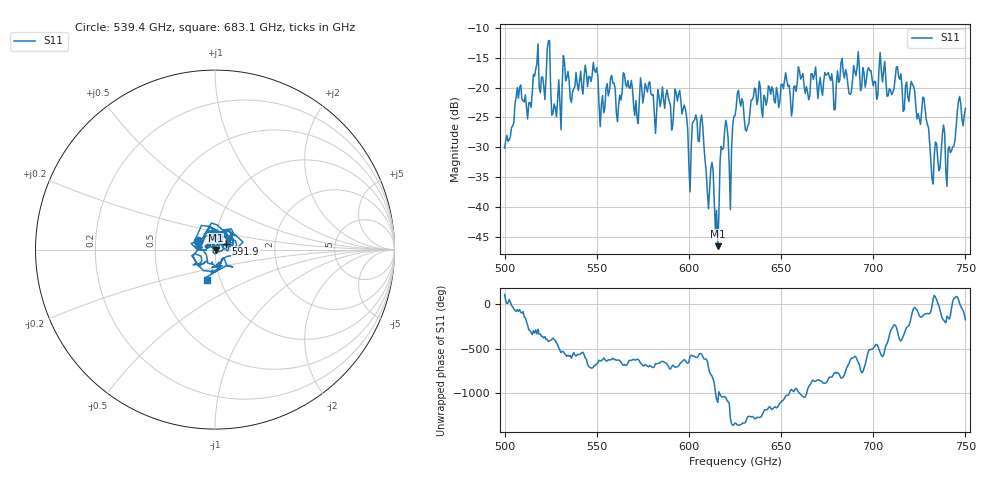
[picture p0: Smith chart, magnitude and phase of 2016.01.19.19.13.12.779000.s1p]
!Created with skrf (http://scikit-rf.org).
# GHz S RI R 50.0
!freq ReS11 ImS11
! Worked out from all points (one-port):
!   401 points, 500 GHz to 750 GHz, reference 50 ohm
!   lowest |S11| = -46.6 dB at 615.6 GHz (marker M1), VSWR 1.01, Z = 50.4 - j0.165 ohm
!   |S11| at or under -10 dB: start of sweep to end of sweep
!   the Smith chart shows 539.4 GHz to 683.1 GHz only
!   S11 on the Smith chart (normalised r, x): 539.4 GHz: 0.82, +0.08; 591.9 GHz: 1.13, +0.07; 683.1 GHz: 0.86, -0.30
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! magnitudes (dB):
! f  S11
! 500 GHz  -30.2
! 507.5 GHz  -21.8
! 513.8 GHz  -22.5
! 516.9 GHz  -17.0
! 520.6 GHz  -18.2
! 523.8 GHz  -12.2
! 526.9 GHz  -22.8
! 531.2 GHz  -19.4
! 539.4 GHz  -19.3
! 562.5 GHz  -21.3
! 565.6 GHz  -19.5
! 571.2 GHz  -22.2
! 591.9 GHz  -23.3
! 593.8 GHz  -22.3
! 600 GHz  -33.2
! 606.9 GHz  -24.6
! 610 GHz  -37.5
! 615.6 GHz  -46.6
! 618.8 GHz  -30.2
! 622.5 GHz  -40.5
! 625 GHz  -24.7
! 656.2 GHz  -23.4
! 683.1 GHz  -15.1
! 687.5 GHz  -21.1
! 718.8 GHz  -21.6
! 728.1 GHz  -23.5
! 731.9 GHz  -35.3
! 750 GHz  -23.5
